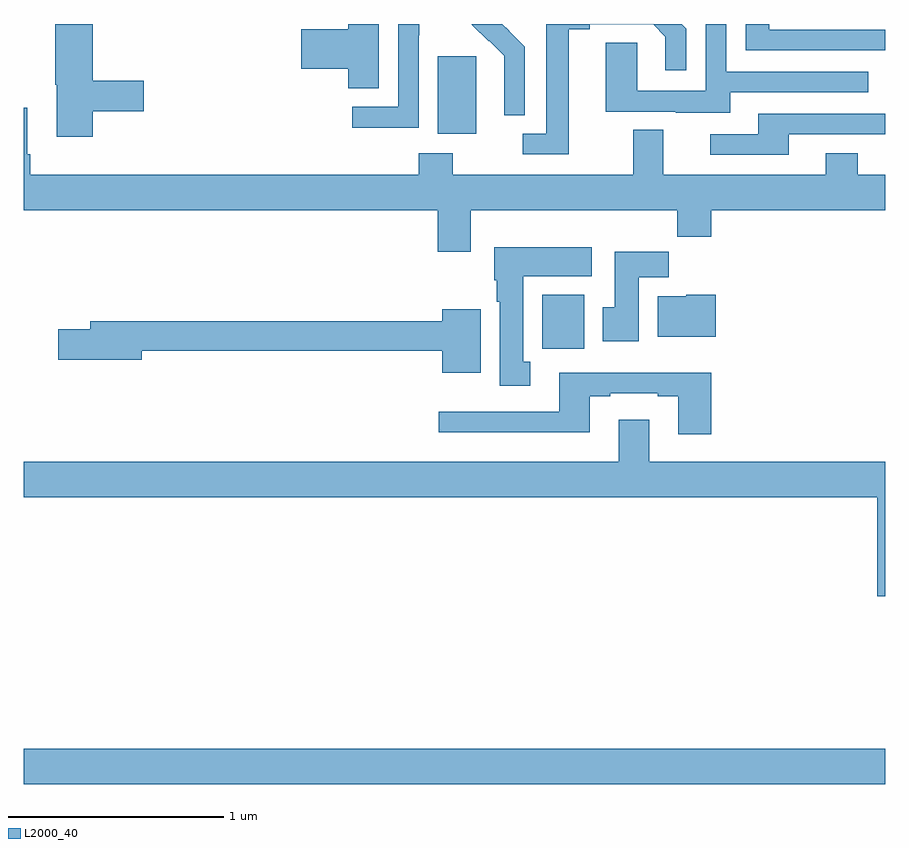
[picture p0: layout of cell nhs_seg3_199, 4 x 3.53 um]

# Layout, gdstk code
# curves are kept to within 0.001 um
import gdstk
lib = gdstk.Library(unit=1e-6, precision=1e-09)
def R(c, l, rs):  # rectangles x0, y0, x1, y1
    for r in rs: c.add(gdstk.rectangle(r[:2], r[2:], *l))
def P(c, l, *ps):  # polygons
    for p in ps: c.add(gdstk.Polygon(p, *l))
L2000_40 = (2000, 40)

nhs_seg3_199 = lib.new_cell('nhs_seg3_199')
R(nhs_seg3_199, L2000_40, [(119,744.872,123,745.036), (121.407,746.892,121.603,747.142), (120.923,747.89,121.102,748.251)])
P(nhs_seg3_199, L2000_40, [(119.321,747.994),(119.557,747.994),(119.557,748.136),(119.321,748.136),(119.321,748.4),(119.146,748.4),(119.146,748.119),(119.153,748.119),(119.153,747.876),(119.321,747.876)],
  [(121.531,748.376),(121.627,748.376),(121.627,748.398),(121.922,748.398),(121.979,748.341),(121.979,748.185),(122.076,748.185),(122.076,748.378),(122.054,748.4),(121.426,748.4),(121.427,747.891),(121.317,747.891),(121.317,747.795),(121.531,747.795)],
  [(120.649,748.4),(120.506,748.4),(120.506,748.376),(120.288,748.376),(120.288,748.193),(120.506,748.193),(120.506,748.102),(120.649,748.102)],
  [(120.834,748.348),(120.837,748.348),(120.837,748.4),(120.738,748.4),(120.738,748.017),(120.525,748.017),(120.525,747.919),(120.834,747.919)],
  [(121.326,748.294),(121.222,748.4),(121.081,748.4),(121.081,748.397),(121.158,748.32),(121.161,748.323),(121.232,748.253),(121.232,748.13),(121.23,748.13),(121.23,747.976),(121.326,747.976)],
  [(123,748.374),(122.461,748.374),(122.461,748.4),(122.352,748.4),(122.352,748.278),(123,748.278)],
  [(122.281,748.083),(122.921,748.083),(122.921,748.179),(122.262,748.179),(122.262,748.4),(122.166,748.4),(122.166,748.089),(121.848,748.089),(121.848,748.313),(121.703,748.313),(121.703,747.993),(122.027,747.993),(122.027,747.989),(122.281,747.989)],
  [(121.075,747.536),(122.035,747.536),(122.035,747.412),(122.192,747.412),(122.192,747.536),(123,747.536),(123,747.7),(122.871,747.7),(122.871,747.799),(122.723,747.799),(122.723,747.7),(121.969,747.7),(121.969,747.908),(121.829,747.908),(121.829,747.7),(120.993,747.7),(120.993,747.799),(120.833,747.799),(120.833,747.7),(119.03,747.7),(119.03,747.796),(119.017,747.796),(119.017,748.012),(119,748.012),(119,747.536),(120.923,747.536),(120.923,747.342),(121.075,747.342)],
  [(122.551,747.888),(123,747.888),(123,747.984),(122.411,747.984),(122.411,747.888),(122.187,747.888),(122.187,747.792),(122.551,747.792)],
  [(121.351,746.833),(121.318,746.833),(121.318,747.23),(121.636,747.23),(121.636,747.364),(121.184,747.364),(121.184,747.21),(121.196,747.21),(121.196,747.11),(121.211,747.11),(121.211,746.721),(121.351,746.721)],
  [(121.855,747.224),(121.994,747.224),(121.994,747.343),(121.745,747.343),(121.745,747.084),(121.688,747.084),(121.688,746.928),(121.855,746.928)],
  [(122.212,747.142),(122.076,747.142),(122.076,747.136),(121.943,747.136),(121.943,746.948),(122.212,746.948)],
  [(121.123,747.076),(120.944,747.076),(120.944,747.02),(119.309,747.02),(119.309,746.984),(119.16,746.984),(119.16,746.842),(119.548,746.842),(119.548,746.884),(120.944,746.884),(120.944,746.78),(121.123,746.78)],
  [(122.192,746.782),(121.487,746.782),(121.487,746.601),(120.927,746.601),(120.927,746.504),(121.627,746.504),(121.627,746.673),(121.723,746.673),(121.723,746.685),(121.943,746.685),(121.943,746.673),(122.039,746.673),(122.039,746.496),(122.192,746.496)],
  [(123,746.368),(121.903,746.368),(121.903,746.563),(121.763,746.563),(121.763,746.368),(119,746.368),(119,746.204),(122.963,746.204),(122.963,745.743),(123,745.743)])

lib.write_gds('nhs_seg3_199.gds')
